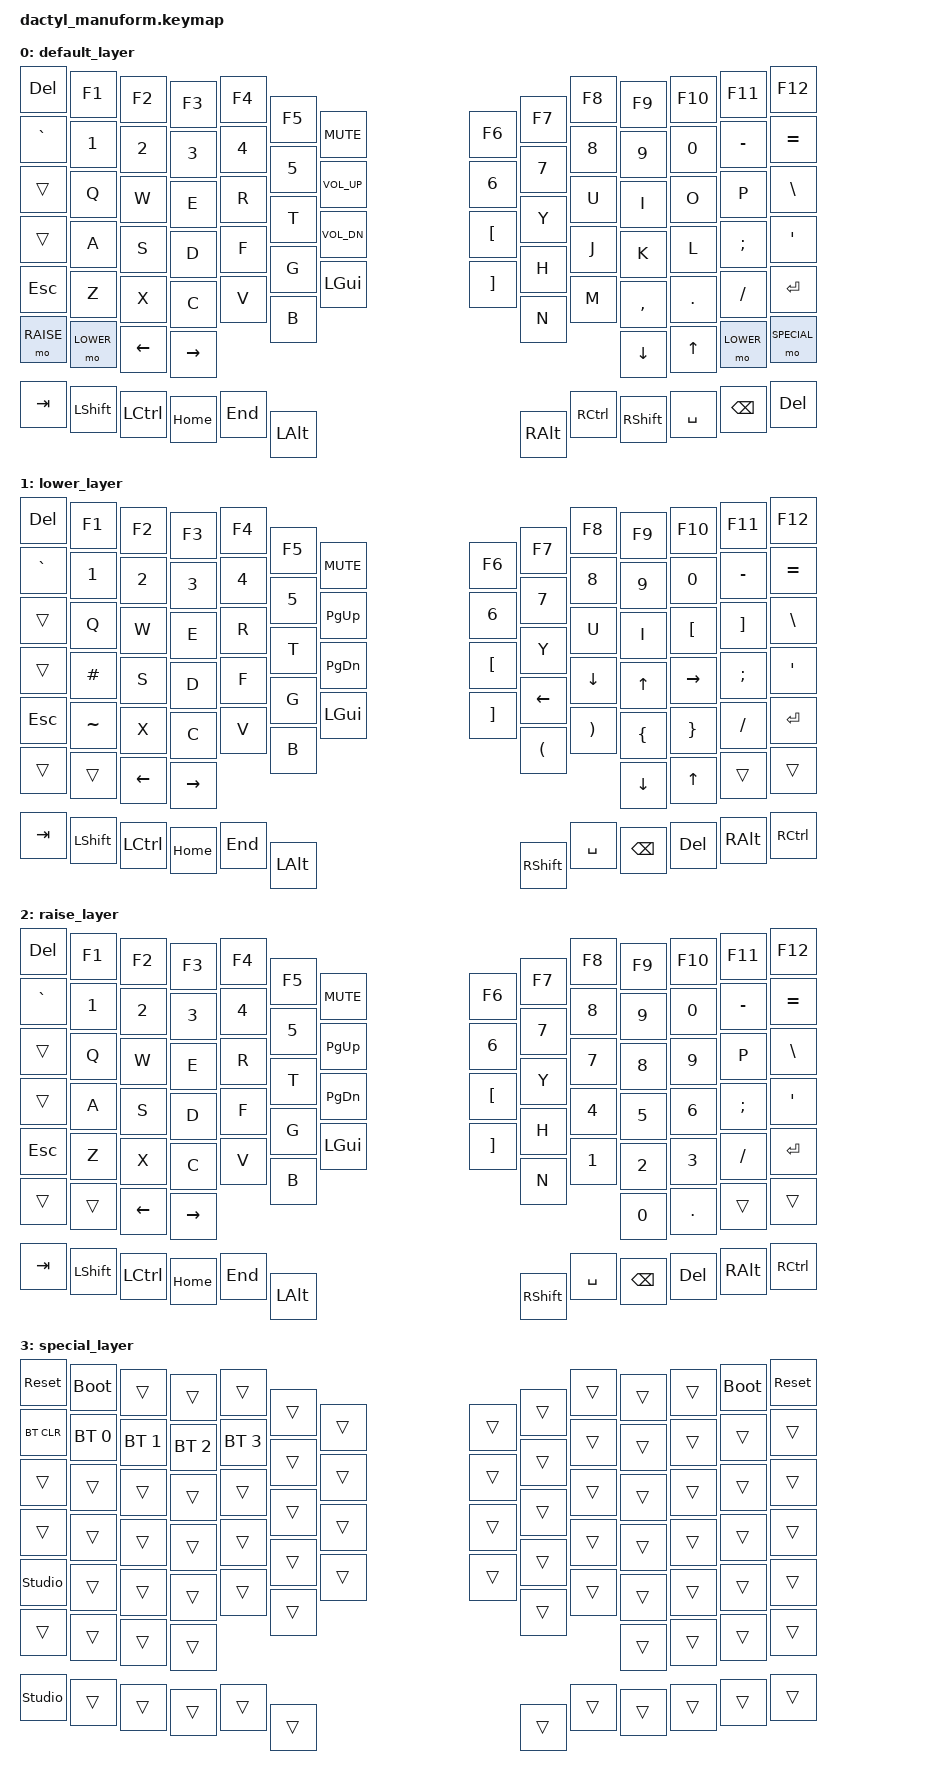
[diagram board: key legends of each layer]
#include <behaviors.dtsi>
#include <dt-bindings/zmk/keys.h>
#include <dt-bindings/zmk/reset.h>
#include <dt-bindings/zmk/bt.h>
#include <dt-bindings/zmk/outputs.h>
#include <dt-bindings/zmk/ext_power.h>
#include <dt-bindings/zmk/rgb.h>

#define DEFAULT 0
#define LOWER   1
#define RAISE   2
#define SPECIAL 3

/ {
	keymap {
		compatible = "zmk,keymap";

		default_layer {
			bindings = <
 &kp DEL   &kp F1    &kp F2    &kp F3    &kp F4   &kp F5 &kp C_MUTE    /**/     &kp F6    &kp F7    &kp F8    &kp F9    &kp F10   &kp F11   &kp F12
 &kp GRAVE &kp N1    &kp N2    &kp N3    &kp N4   &kp N5 &kp K_VOL_UP  /**/     &kp N6    &kp N7    &kp N8    &kp N9    &kp N0    &kp MINUS &kp EQUAL
 &trans    &kp Q     &kp W     &kp E     &kp R    &kp T  &kp K_VOL_DN  /**/     &kp LBKT  &kp Y     &kp U     &kp I     &kp O     &kp P     &kp BSLH
 &trans    &kp A     &kp S     &kp D     &kp F    &kp G  &kp LGUI      /**/     &kp RBKT  &kp H     &kp J     &kp K     &kp L     &kp SEMI  &kp SQT
 &kp ESC   &kp Z     &kp X     &kp C     &kp V    &kp B                /**/               &kp N     &kp M     &kp COMMA &kp DOT   &kp FSLH  &kp ENTER
 &mo RAISE &mo LOWER &kp LEFT  &kp RIGHT                               /**/                                   &kp DOWN  &kp UP    &mo LOWER &mo SPECIAL
 &kp TAB   &kp LSHFT &kp LCTRL &kp HOME  &kp END  &kp LALT             /**/               &kp RALT  &kp RCTRL &kp RSHFT &kp SPACE &kp BSPC  &kp DEL
			>;
		};

		lower_layer {
			bindings = <
 &kp DEL   &kp F1    &kp F2    &kp F3    &kp F4   &kp F5 &kp C_MUTE    /**/     &kp F6    &kp F7    &kp F8    &kp F9    &kp F10   &kp F11   &kp F12
 &kp GRAVE &kp N1    &kp N2    &kp N3    &kp N4   &kp N5 &kp PG_UP     /**/     &kp N6    &kp N7    &kp N8    &kp N9    &kp N0    &kp MINUS &kp EQUAL
 &trans    &kp Q     &kp W     &kp E     &kp R    &kp T  &kp PG_DN     /**/     &kp LBKT  &kp Y     &kp U     &kp I     &kp LBKT  &kp RBKT  &kp BSLH
 &trans    &kp HASH  &kp S     &kp D     &kp F    &kp G  &kp LGUI      /**/     &kp RBKT  &kp LEFT  &kp DOWN  &kp UP    &kp RIGHT &kp SEMI  &kp SQT
 &kp ESC   &kp TILDE &kp X     &kp C     &kp V    &kp B                /**/               &kp LPAR  &kp RPAR  &kp LBRC  &kp RBRC  &kp FSLH  &kp ENTER
 &trans    &trans    &kp LEFT  &kp RIGHT                               /**/                                   &kp DOWN  &kp UP    &trans    &trans
 &kp TAB   &kp LSHFT &kp LCTRL &kp HOME  &kp END  &kp LALT             /**/               &kp RSHFT &kp SPACE &kp BSPC  &kp DEL   &kp RALT  &kp RCTRL
			>;
		};

		raise_layer {
			bindings = <
 &kp DEL   &kp F1    &kp F2    &kp F3    &kp F4   &kp F5 &kp C_MUTE    /**/     &kp F6    &kp F7    &kp F8    &kp F9    &kp F10   &kp F11   &kp F12
 &kp GRAVE &kp N1    &kp N2    &kp N3    &kp N4   &kp N5 &kp PG_UP     /**/     &kp N6    &kp N7    &kp N8    &kp N9    &kp N0    &kp MINUS &kp EQUAL
 &trans    &kp Q     &kp W     &kp E     &kp R    &kp T  &kp PG_DN     /**/     &kp LBKT  &kp Y     &kp N7    &kp N8    &kp N9    &kp P     &kp BSLH
 &trans    &kp A     &kp S     &kp D     &kp F    &kp G  &kp LGUI      /**/     &kp RBKT  &kp H     &kp N4    &kp N5    &kp N6    &kp SEMI  &kp SQT
 &kp ESC   &kp Z     &kp X     &kp C     &kp V    &kp B                /**/               &kp N     &kp N1    &kp N2    &kp N3    &kp FSLH  &kp ENTER
 &trans    &trans    &kp LEFT  &kp RIGHT                               /**/                                   &kp N0    &kp DOT   &trans    &trans
 &kp TAB   &kp LSHFT &kp LCTRL &kp HOME  &kp END  &kp LALT             /**/               &kp RSHFT &kp SPACE &kp BSPC  &kp DEL   &kp RALT  &kp RCTRL
			>;
		};

		special_layer {
			bindings = <
 &sys_reset        &bootloader  &trans         &trans       &trans        &trans    &trans    /**/    &trans    &trans    &trans    &trans    &trans    &bootloader &sys_reset
 &bt BT_CLR        &bt BT_SEL 0 &bt BT_SEL 1   &bt BT_SEL 2 &bt BT_SEL 3  &trans    &trans     /**/   &trans    &trans    &trans    &trans    &trans    &trans      &trans
 &trans            &trans       &trans         &trans       &trans        &trans    &trans    /**/    &trans    &trans    &trans    &trans    &trans    &trans      &trans
 &trans            &trans       &trans         &trans       &trans        &trans    &trans    /**/    &trans    &trans    &trans    &trans    &trans    &trans      &trans
 &studio_unlock    &trans       &trans         &trans       &trans        &trans              /**/              &trans    &trans    &trans    &trans    &trans      &trans
 &trans            &trans       &trans         &trans                                         /**/                                  &trans    &trans    &trans      &trans
 &studio_unlock    &trans       &trans         &trans       &trans        &trans              /**/              &trans    &trans    &trans    &trans    &trans      &trans
			>;
		};

		extra_5 {
			status = "reserved";
		};
		extra_6 {
			status = "reserved";
		};
		extra_7 {
			status = "reserved";
		};
		extra_8 {
			status = "reserved";
		};
		extra_9 {
			status = "reserved";
		};
		extra_10 {
			status = "reserved";
		};
		extra_11 {
			status = "reserved";
		};
		extra_12 {
			status = "reserved";
		};
		extra_13 {
			status = "reserved";
		};
		extra_14 {
			status = "reserved";
		};
		extra_15 {
			status = "reserved";
		};
		extra_16 {
			status = "reserved";
		};
	};
};

